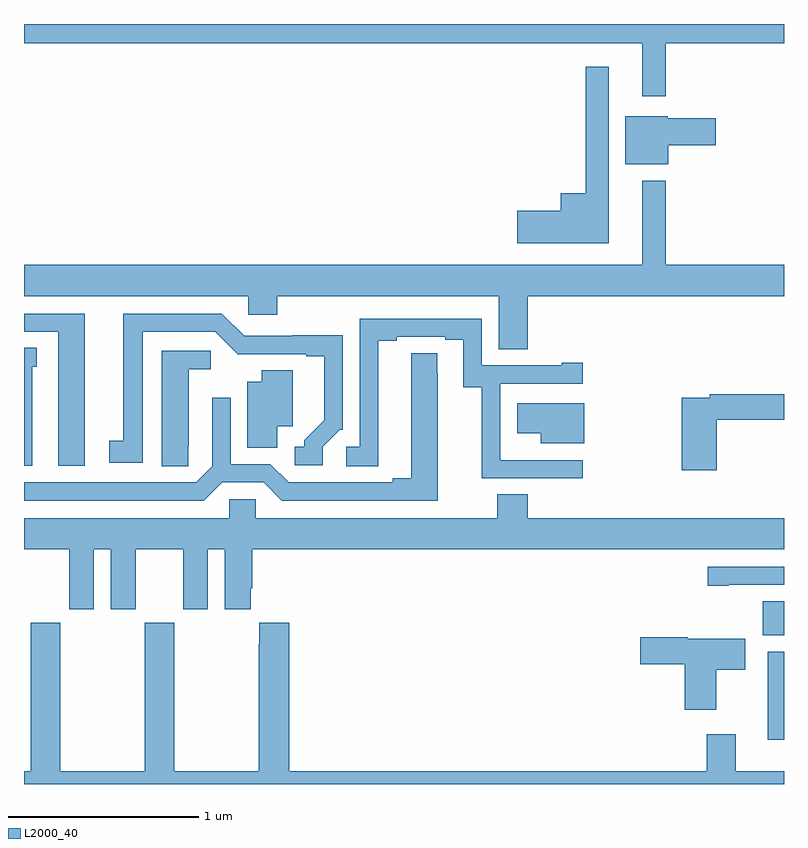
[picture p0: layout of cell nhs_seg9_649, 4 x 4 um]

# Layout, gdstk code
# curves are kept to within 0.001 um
import gdstk
lib = gdstk.Library(unit=1e-6, precision=1e-09)
def R(c, l, rs):  # rectangles x0, y0, x1, y1
    for r in rs: c.add(gdstk.rectangle(r[:2], r[2:], *l))
def P(c, l, *ps):  # polygons
    for p in ps: c.add(gdstk.Polygon(p, *l))
L2000_40 = (2000, 40)

nhs_seg9_649 = lib.new_cell('nhs_seg9_649')
R(nhs_seg9_649, L2000_40, [(146.915,1212.732,147,1213.195), (146.888,1213.284,147,1213.463)])
P(nhs_seg9_649, L2000_40, [(146.377,1216.4),(147,1216.4),(147,1216.5),(143,1216.5),(143,1216.4),(146.255,1216.4),(146.255,1216.119),(146.377,1216.119)],
  [(146.077,1216.276),(145.956,1216.276),(145.956,1215.61),(145.826,1215.61),(145.826,1215.518),(145.596,1215.518),(145.596,1215.347),(146.077,1215.347)],
  [(146.392,1215.863),(146.641,1215.863),(146.641,1216.005),(146.388,1216.005),(146.388,1216.015),(146.165,1216.015),(146.165,1215.761),(146.392,1215.761)],
  [(145.652,1215.068),(147,1215.068),(147,1215.232),(146.377,1215.232),(146.377,1215.676),(146.255,1215.676),(146.255,1215.232),(143,1215.232),(143,1215.068),(144.18,1215.068),(144.18,1214.97),(144.332,1214.97),(144.332,1215.068),(145.499,1215.068),(145.499,1214.788),(145.652,1214.788)],
  [(144.573,1214.274),(144.663,1214.364),(144.678,1214.364),(144.678,1214.861),(144.415,1214.861),(144.415,1214.859),(144.159,1214.859),(144.042,1214.976),(143.522,1214.976),(143.522,1214.306),(143.448,1214.306),(143.448,1214.19),(143.626,1214.19),(143.626,1214.88),(144.006,1214.88),(144.124,1214.762),(144.485,1214.763),(144.485,1214.751),(144.581,1214.751),(144.581,1214.414),(144.476,1214.309),(144.476,1214.274),(144.426,1214.274),(144.426,1214.178),(144.573,1214.178)],
  [(143.32,1214.976),(143,1214.976),(143,1214.88),(143.18,1214.88),(143.18,1214.175),(143.32,1214.175)],
  [(145.942,1214.205),(145.508,1214.205),(145.508,1214.206),(145.506,1214.206),(145.506,1214.607),(145.942,1214.607),(145.942,1214.716),(145.829,1214.716),(145.829,1214.703),(145.41,1214.703),(145.41,1214.949),(144.768,1214.949),(144.768,1214.274),(144.696,1214.274),(144.696,1214.173),(144.865,1214.173),(144.865,1214.833),(144.961,1214.833),(144.961,1214.853),(145.217,1214.853),(145.217,1214.838),(145.313,1214.838),(145.313,1214.587),(145.408,1214.587),(145.408,1214.109),(145.942,1214.109)],
  [(143.044,1214.697),(143.068,1214.697),(143.068,1214.795),(143,1214.795),(143,1214.175),(143.044,1214.175)],
  [(143.865,1214.281),(143.866,1214.281),(143.866,1214.684),(143.983,1214.684),(143.983,1214.781),(143.726,1214.781),(143.726,1214.173),(143.865,1214.173)],
  [(144.043,1214.088),(144.261,1214.088),(144.357,1213.992),(145.177,1213.992),(145.176,1214.768),(145.037,1214.768),(145.037,1214.108),(144.941,1214.108),(144.941,1214.088),(144.393,1214.088),(144.297,1214.184),(144.087,1214.184),(144.087,1214.533),(143.991,1214.533),(143.991,1214.172),(143.907,1214.088),(143,1214.088),(143,1213.992),(143.947,1213.992)],
  [(144.334,1214.384),(144.415,1214.384),(144.415,1214.678),(144.251,1214.678),(144.251,1214.617),(144.176,1214.617),(144.176,1214.269),(144.334,1214.269)],
  [(146.645,1214.416),(147,1214.416),(147,1214.552),(146.608,1214.552),(146.608,1214.532),(146.462,1214.532),(146.462,1214.151),(146.645,1214.151)],
  [(145.948,1214.503),(145.596,1214.503),(145.596,1214.345),(145.721,1214.345),(145.721,1214.294),(145.948,1214.294)],
  [(143.368,1213.736),(143.456,1213.736),(143.456,1213.419),(143.587,1213.419),(143.587,1213.736),(143.837,1213.736),(143.837,1213.419),(143.968,1213.419),(143.968,1213.736),(144.056,1213.736),(144.056,1213.419),(144.193,1213.419),(144.193,1213.531),(144.2,1213.531),(144.2,1213.736),(147,1213.736),(147,1213.9),(145.652,1213.9),(145.652,1214.024),(145.492,1214.024),(145.492,1213.9),(144.219,1213.9),(144.219,1213.998),(144.081,1213.998),(144.081,1213.9),(143,1213.9),(143,1213.736),(143.237,1213.736),(143.237,1213.419),(143.368,1213.419)],
  [(146.71,1213.548),(147,1213.548),(147,1213.644),(146.598,1213.644),(146.598,1213.543),(146.71,1213.543)],
  [(147,1212.568),(146.746,1212.568),(146.746,1212.763),(146.594,1212.763),(146.594,1212.568),(144.395,1212.568),(144.395,1213.348),(144.239,1213.348),(144.239,1213.235),(144.235,1213.235),(144.235,1212.568),(143.79,1212.568),(143.79,1213.348),(143.635,1213.348),(143.635,1212.568),(143.19,1212.568),(143.19,1213.348),(143.035,1213.348),(143.035,1212.568),(143,1212.568),(143,1212.5),(147,1212.5)],
  [(146.644,1213.102),(146.797,1213.102),(146.797,1213.264),(146.493,1213.264),(146.493,1213.272),(146.244,1213.272),(146.244,1213.13),(146.477,1213.13),(146.477,1212.891),(146.644,1212.891)])

lib.write_gds('nhs_seg9_649.gds')
